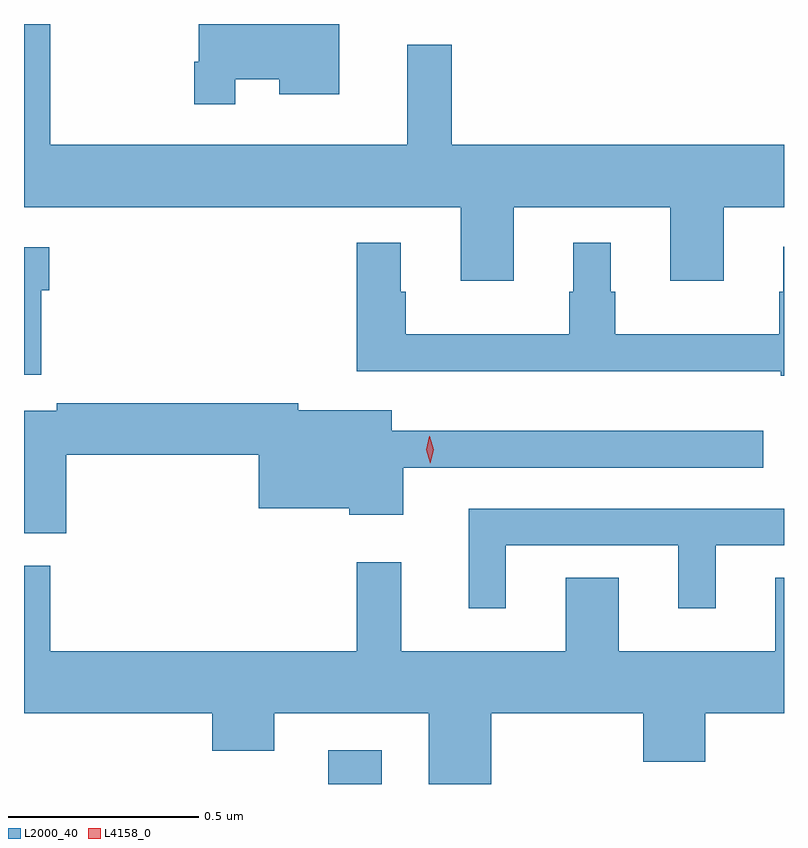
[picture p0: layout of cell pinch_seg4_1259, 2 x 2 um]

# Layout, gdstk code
import gdstk
lib = gdstk.Library(unit=1e-6, precision=1e-09)
def R(c, l, rs):  # rectangles x0, y0, x1, y1
    for r in rs: c.add(gdstk.rectangle(r[:2], r[2:], *l))
def P(c, l, *ps):  # polygons
    for p in ps: c.add(gdstk.Polygon(p, *l))
L2000_40 = (2000, 40)
L4158_0 = (4158, 0)

pinch_seg4_1259 = lib.new_cell('pinch_seg4_1259')
R(pinch_seg4_1259, L2000_40, [(157.091,813.95,157.231,814.039)])
P(pinch_seg4_1259, L2000_40, [(156.846,815.804),(156.962,815.804),(156.962,815.765),(157.12,815.765),(157.12,815.95),(156.75,815.95),(156.75,815.851),(156.738,815.851),(156.738,815.739),(156.846,815.739)],
  [(157.579,815.468),(157.991,815.468),(157.991,815.274),(158.131,815.274),(158.131,815.468),(158.29,815.468),(158.29,815.632),(157.415,815.632),(157.415,815.896),(157.298,815.896),(157.298,815.632),(156.359,815.632),(156.359,815.95),(156.29,815.95),(156.29,815.468),(157.439,815.468),(157.439,815.274),(157.579,815.274)],
  [(158.29,815.364),(158.288,815.364),(158.288,815.246),(158.277,815.246),(158.277,815.134),(157.846,815.134),(157.846,815.246),(157.834,815.246),(157.834,815.374),(157.736,815.374),(157.736,815.246),(157.725,815.246),(157.725,815.134),(157.294,815.134),(157.294,815.246),(157.282,815.246),(157.282,815.374),(157.165,815.374),(157.165,815.036),(158.282,815.036),(158.282,815.025),(158.29,815.025)],
  [(156.336,815.249),(156.356,815.249),(156.356,815.362),(156.29,815.362),(156.29,815.027),(156.336,815.027)],
  [(156.401,814.816),(156.908,814.816),(156.908,814.676),(157.146,814.676),(157.146,814.658),(157.288,814.658),(157.288,814.782),(158.236,814.782),(158.236,814.879),(157.258,814.879),(157.258,814.933),(157.012,814.933),(157.012,814.952),(156.376,814.952),(156.376,814.932),(156.29,814.932),(156.29,814.61),(156.401,814.61)],
  [(157.558,814.578),(158.012,814.578),(158.012,814.413),(158.11,814.413),(158.11,814.578),(158.29,814.578),(158.29,814.674),(157.46,814.674),(157.46,814.413),(157.558,814.413)],
  [(157.519,814.136),(157.919,814.136),(157.919,814.008),(158.083,814.008),(158.083,814.136),(158.29,814.136),(158.29,814.493),(158.267,814.493),(158.267,814.3),(157.855,814.3),(157.855,814.493),(157.715,814.493),(157.715,814.3),(157.283,814.3),(157.283,814.534),(157.165,814.534),(157.165,814.3),(156.359,814.3),(156.359,814.525),(156.29,814.525),(156.29,814.136),(156.785,814.136),(156.785,814.037),(156.949,814.037),(156.949,814.136),(157.355,814.136),(157.355,813.95),(157.519,813.95)])
P(pinch_seg4_1259, L4158_0, [(157.359,814.794),(157.359,814.794),(157.348,814.829),(157.357,814.865),(157.357,814.865),(157.358,814.865),(157.368,814.83),(157.359,814.794)])

lib.write_gds('pinch_seg4_1259.gds')
